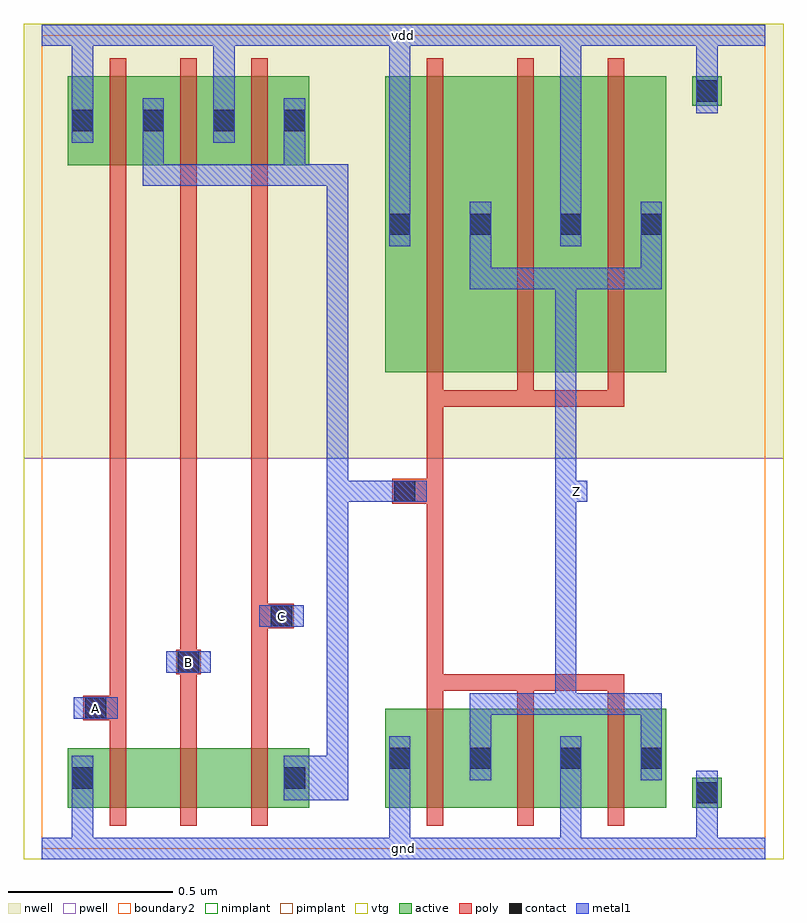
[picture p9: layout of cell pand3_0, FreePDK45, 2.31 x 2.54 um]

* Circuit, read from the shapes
.subckt pand3_0 A B C Z gnd vdd
M1 pnand3_0_0/nmos_m1_w0_180_sm1_dactive_3/D A gnd gnd nfet w=0.18u l=0.05u
M2 pnand3_0_0/nmos_m1_w0_180_sactive_dactive_4/D B pnand3_0_0/nmos_m1_w0_180_sm1_dactive_3/D gnd nfet w=0.18u l=0.05u
M3 pdriver_3_1/A C pnand3_0_0/nmos_m1_w0_180_sactive_dactive_4/D gnd nfet w=0.18u l=0.05u
M4 Z pdriver_3_1/A gnd gnd nfet w=0.3u l=0.05u m=3
M5 pdriver_3_1/A A vdd vdd pfet w=0.27u l=0.05u
M6 vdd B pdriver_3_1/A vdd pfet w=0.27u l=0.05u
M7 pdriver_3_1/A C vdd vdd pfet w=0.27u l=0.05u
M8 Z pdriver_3_1/A vdd vdd pfet w=0.9u l=0.05u m=3
.ends

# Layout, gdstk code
import gdstk
lib = gdstk.Library(unit=1e-6, precision=5e-10)
def R(c, l, rs):  # rectangles x0, y0, x1, y1
    for r in rs: c.add(gdstk.rectangle(r[:2], r[2:], *l))
def A(c, l, x, y, w, h, nx, ny, dx, dy):  # array of equal rectangles
    R(c, l, [(x+i*dx, y+j*dy, x+i*dx+w, y+j*dy+h) for i in range(nx) for j in range(ny)])
active = (1, 0)
pwell = (2, 0)
nwell = (3, 0)
nimplant = (4, 0)
pimplant = (5, 0)
vtg = (6, 0)
poly = (9, 0)
contact = (10, 0)
metal1 = (11, 0)
boundary2 = (239, 0)

contact_9 = lib.new_cell('contact_9')
R(contact_9, active, [(0,0.0225,0.09,0.1125)])
R(contact_9, nwell, [(-0.055,-0.0325,0.145,0.1675)])
R(contact_9, pimplant, [(0,0.0225,0.09,0.1125)])
R(contact_9, contact, [(0.0125,0.035,0.0775,0.1)])
R(contact_9, metal1, [(0.0125,0,0.0775,0.135)])
R(contact_9, boundary2, [(-0.055,-0.0325,0.145,0.1675)])

pmos_m1_w0_270_sm1_dm1 = lib.new_cell('pmos_m1_w0_270_sm1_dm1')
R(pmos_m1_w0_270_sm1_dm1, active, [(0,0,0.305,0.27)])
R(pmos_m1_w0_270_sm1_dm1, nwell, [(-0.08,-0.08,0.385,0.35)])
R(pmos_m1_w0_270_sm1_dm1, pimplant, [(0,0,0.305,0.27)])
R(pmos_m1_w0_270_sm1_dm1, vtg, [(-0.08,-0.08,0.385,0.35)])
R(pmos_m1_w0_270_sm1_dm1, poly, [(0.1275,-0.055,0.1775,0.325), (0.1275,-0.055,0.1775,0.325)])
R(pmos_m1_w0_270_sm1_dm1, metal1, [(0.0125,0.0675,0.0775,0.2025), (0.2275,0.0675,0.2925,0.2025)])
R(pmos_m1_w0_270_sm1_dm1, boundary2, [(-0.08,-0.08,0.385,0.35)])
pmos_m1_w0_270_sm1_dm1.add(gdstk.Reference(contact_9, (0,0.0675)))
pmos_m1_w0_270_sm1_dm1.add(gdstk.Reference(contact_9, (0.215,0.0675)))
pmos_m1_w0_270_sm1_dm1.add(gdstk.Label('G', (0.1525,0.135), layer=9, texttype=0))
pmos_m1_w0_270_sm1_dm1.add(gdstk.Label('S', (0.045,0.135), layer=11, texttype=0))
pmos_m1_w0_270_sm1_dm1.add(gdstk.Label('D', (0.26,0.135), layer=11, texttype=0))

contact_14 = lib.new_cell('contact_14')
R(contact_14, active, [(0,0.0225,0.09,0.1125)])
R(contact_14, pwell, [(-0.055,-0.0325,0.145,0.1675)])
R(contact_14, nimplant, [(0,0.0225,0.09,0.1125)])
R(contact_14, contact, [(0.0125,0.035,0.0775,0.1)])
R(contact_14, metal1, [(0.0125,0,0.0775,0.135)])
R(contact_14, boundary2, [(-0.055,-0.0325,0.145,0.1675)])

nmos_m1_w0_180_sm1_dacti = lib.new_cell('nmos_m1_w0_180_sm1_dactive')
R(nmos_m1_w0_180_sm1_dacti, active, [(0,0,0.305,0.18), (0.215,0.045,0.305,0.135)])
R(nmos_m1_w0_180_sm1_dacti, pwell, [(-0.08,-0.08,0.385,0.26)])
R(nmos_m1_w0_180_sm1_dacti, nimplant, [(0,0,0.305,0.18)])
R(nmos_m1_w0_180_sm1_dacti, vtg, [(-0.08,-0.08,0.385,0.26)])
R(nmos_m1_w0_180_sm1_dacti, poly, [(0.1275,-0.055,0.1775,0.235), (0.1275,-0.055,0.1775,0.235)])
R(nmos_m1_w0_180_sm1_dacti, metal1, [(0.0125,0.0225,0.0775,0.1575)])
R(nmos_m1_w0_180_sm1_dacti, boundary2, [(-0.08,-0.08,0.385,0.26)])
nmos_m1_w0_180_sm1_dacti.add(gdstk.Reference(contact_14, (0,0.0225)))
nmos_m1_w0_180_sm1_dacti.add(gdstk.Label('G', (0.1525,0.09), layer=9, texttype=0))
nmos_m1_w0_180_sm1_dacti.add(gdstk.Label('S', (0.045,0.09), layer=11, texttype=0))
nmos_m1_w0_180_sm1_dacti.add(gdstk.Label('D', (0.26,0.09), layer=1, texttype=0))

nmos_m1_w0_180_sactive_d = lib.new_cell('nmos_m1_w0_180_sactive_dactive')
R(nmos_m1_w0_180_sactive_d, active, [(0,0,0.305,0.18), (0,0.045,0.09,0.135), (0.215,0.045,0.305,0.135)])
R(nmos_m1_w0_180_sactive_d, pwell, [(-0.08,-0.08,0.385,0.26)])
R(nmos_m1_w0_180_sactive_d, nimplant, [(0,0,0.305,0.18)])
R(nmos_m1_w0_180_sactive_d, vtg, [(-0.08,-0.08,0.385,0.26)])
R(nmos_m1_w0_180_sactive_d, poly, [(0.1275,-0.055,0.1775,0.235), (0.1275,-0.055,0.1775,0.235)])
R(nmos_m1_w0_180_sactive_d, boundary2, [(-0.08,-0.08,0.385,0.26)])
nmos_m1_w0_180_sactive_d.add(gdstk.Label('G', (0.1525,0.09), layer=9, texttype=0))
nmos_m1_w0_180_sactive_d.add(gdstk.Label('S', (0.045,0.09), layer=1, texttype=0))
nmos_m1_w0_180_sactive_d.add(gdstk.Label('D', (0.26,0.09), layer=1, texttype=0))

c_nmos_m1_w0_180_sactive_d = lib.new_cell('nmos_m1_w0_180_sactive_dm1')
R(c_nmos_m1_w0_180_sactive_d, active, [(0,0,0.305,0.18), (0,0.045,0.09,0.135)])
R(c_nmos_m1_w0_180_sactive_d, pwell, [(-0.08,-0.08,0.385,0.26)])
R(c_nmos_m1_w0_180_sactive_d, nimplant, [(0,0,0.305,0.18)])
R(c_nmos_m1_w0_180_sactive_d, vtg, [(-0.08,-0.08,0.385,0.26)])
R(c_nmos_m1_w0_180_sactive_d, poly, [(0.1275,-0.055,0.1775,0.235), (0.1275,-0.055,0.1775,0.235)])
R(c_nmos_m1_w0_180_sactive_d, metal1, [(0.2275,0.0225,0.2925,0.1575)])
R(c_nmos_m1_w0_180_sactive_d, boundary2, [(-0.08,-0.08,0.385,0.26)])
c_nmos_m1_w0_180_sactive_d.add(gdstk.Reference(contact_14, (0.215,0.0225)))
c_nmos_m1_w0_180_sactive_d.add(gdstk.Label('G', (0.1525,0.09), layer=9, texttype=0))
c_nmos_m1_w0_180_sactive_d.add(gdstk.Label('S', (0.045,0.09), layer=1, texttype=0))
c_nmos_m1_w0_180_sactive_d.add(gdstk.Label('D', (0.26,0.09), layer=11, texttype=0))

contact_10 = lib.new_cell('contact_10')
R(contact_10, poly, [(0.03,0,0.105,0.075)])
R(contact_10, contact, [(0.035,0.005,0.1,0.07)])
R(contact_10, metal1, [(0,0.005,0.135,0.07)])
R(contact_10, boundary2, [(0,0,0.135,0.075)])

pnand3_0 = lib.new_cell('pnand3_0')
R(pnand3_0, pwell, [(-0.055,-0.0325,1.02,1.1875)])
R(pnand3_0, nwell, [(-0.055,1.1875,1.02,2.51)])
R(pnand3_0, vtg, [(-0.055,-0.0325,1.02,1.1875), (-0.055,1.1875,1.02,2.51)])
A(pnand3_0, poly, 0.2075, 0.36, 0.05, 1.665, 3, 1, 0.215, 0)
R(pnand3_0, poly, [(0.165,0.39,0.2075,0.465), (0.4225,0.53,0.4475,0.605), (0.6375,0.67,0.73,0.745)])
R(pnand3_0, metal1, [(0,-0.0325,0.965,0.0325), (0.0925,-0.0325,0.1575,0.1475), (0.77,0.1475,0.9,0.2825), (0.8675,0.1475,0.9325,2.05), (0.0975,0.395,0.2325,0.46), (0.38,0.535,0.515,0.6), (0.6625,0.675,0.7975,0.74), (0.3075,2.0175,0.3725,2.0825), (0.34,2.0175,0.9,2.0825), (0.7375,2.0175,0.8025,2.0825), (0.77,2.0175,0.9,2.0825), (0.8675,2.0175,0.9325,2.0825), (0.3075,2.05,0.3725,2.215), (0.7375,2.05,0.8025,2.215), (0.0925,2.1475,0.1575,2.5075), (0.5225,2.1475,0.5875,2.5075), (0,2.4425,0.965,2.5075)])
R(pnand3_0, boundary2, [(0,0,0.965,2.475), (0,0,0.965,2.475)])
pnand3_0.add(gdstk.Reference(pmos_m1_w0_270_sm1_dm1, (0.08,2.08)))
pnand3_0.add(gdstk.Reference(pmos_m1_w0_270_sm1_dm1, (0.295,2.08)))
pnand3_0.add(gdstk.Reference(pmos_m1_w0_270_sm1_dm1, (0.51,2.08)))
pnand3_0.add(gdstk.Reference(nmos_m1_w0_180_sm1_dacti, (0.08,0.125)))
pnand3_0.add(gdstk.Reference(nmos_m1_w0_180_sactive_d, (0.295,0.125)))
pnand3_0.add(gdstk.Reference(c_nmos_m1_w0_180_sactive_d, (0.51,0.125)))
pnand3_0.add(gdstk.Reference(contact_10, (0.0975,0.39)))
pnand3_0.add(gdstk.Reference(contact_10, (0.38,0.53)))
pnand3_0.add(gdstk.Reference(contact_10, (0.6625,0.67)))
pnand3_0.add(gdstk.Label('A', (0.165,0.4275), layer=11, texttype=0))
pnand3_0.add(gdstk.Label('B', (0.4475,0.5675), layer=11, texttype=0))
pnand3_0.add(gdstk.Label('C', (0.73,0.7075), layer=11, texttype=0))
pnand3_0.add(gdstk.Label('Z', (0.9,2.05), layer=11, texttype=0))
pnand3_0.add(gdstk.Label('gnd', (0.4825,0), layer=11, texttype=0))
pnand3_0.add(gdstk.Label('vdd', (0.4825,2.475), layer=11, texttype=0))

pmos_m3_w0_900_sm1_dm1_d = lib.new_cell('pmos_m3_w0_900_sm1_dm1_da_p')
R(pmos_m3_w0_900_sm1_dm1_d, active, [(0,0,0.855,0.9)])
R(pmos_m3_w0_900_sm1_dm1_d, nwell, [(-0.08,-0.08,0.935,0.98)])
R(pmos_m3_w0_900_sm1_dm1_d, pimplant, [(0,0,0.855,0.9)])
R(pmos_m3_w0_900_sm1_dm1_d, vtg, [(-0.08,-0.08,0.935,0.98)])
A(pmos_m3_w0_900_sm1_dm1_d, poly, 0.1275, -0.055, 0.05, 1.01, 3, 1, 0.275, 0)
R(pmos_m3_w0_900_sm1_dm1_d, poly, [(0.1275,-0.105,0.7275,-0.055)])
R(pmos_m3_w0_900_sm1_dm1_d, metal1, [(0.2575,0.2525,0.8425,0.3175), (0.2575,0.285,0.3225,0.45), (0.7775,0.285,0.8425,0.45), (0.0125,0.3825,0.0775,0.5175), (0.5325,0.3825,0.5975,0.5175)])
R(pmos_m3_w0_900_sm1_dm1_d, boundary2, [(-0.08,-0.08,0.935,0.98)])
pmos_m3_w0_900_sm1_dm1_d.add(gdstk.Reference(contact_9, (0,0.3825)))
pmos_m3_w0_900_sm1_dm1_d.add(gdstk.Reference(contact_9, (0.245,0.3825)))
pmos_m3_w0_900_sm1_dm1_d.add(gdstk.Reference(contact_9, (0.52,0.3825)))
pmos_m3_w0_900_sm1_dm1_d.add(gdstk.Reference(contact_9, (0.765,0.3825)))
pmos_m3_w0_900_sm1_dm1_d.add(gdstk.Label('G', (0.4275,-0.08), layer=9, texttype=0))
pmos_m3_w0_900_sm1_dm1_d.add(gdstk.Label('S', (0.565,0.45), layer=11, texttype=0))
pmos_m3_w0_900_sm1_dm1_d.add(gdstk.Label('S', (0.045,0.45), layer=11, texttype=0))
pmos_m3_w0_900_sm1_dm1_d.add(gdstk.Label('D', (0.55,0.285), layer=11, texttype=0))

nmos_m3_w0_300_sm1_dm1_d = lib.new_cell('nmos_m3_w0_300_sm1_dm1_da_p')
R(nmos_m3_w0_300_sm1_dm1_d, active, [(0,0,0.855,0.3)])
R(nmos_m3_w0_300_sm1_dm1_d, pwell, [(-0.08,-0.08,0.935,0.38)])
R(nmos_m3_w0_300_sm1_dm1_d, nimplant, [(0,0,0.855,0.3)])
R(nmos_m3_w0_300_sm1_dm1_d, vtg, [(-0.08,-0.08,0.935,0.38)])
A(nmos_m3_w0_300_sm1_dm1_d, poly, 0.1275, -0.055, 0.05, 0.41, 3, 1, 0.275, 0)
R(nmos_m3_w0_300_sm1_dm1_d, poly, [(0.1275,0.355,0.7275,0.405)])
R(nmos_m3_w0_300_sm1_dm1_d, metal1, [(0.0125,0.0825,0.0775,0.2175), (0.5325,0.0825,0.5975,0.2175), (0.2575,0.15,0.3225,0.315), (0.7775,0.15,0.8425,0.315), (0.2575,0.2825,0.8425,0.3475)])
R(nmos_m3_w0_300_sm1_dm1_d, boundary2, [(-0.08,-0.08,0.935,0.38)])
nmos_m3_w0_300_sm1_dm1_d.add(gdstk.Reference(contact_14, (0,0.0825)))
nmos_m3_w0_300_sm1_dm1_d.add(gdstk.Reference(contact_14, (0.245,0.0825)))
nmos_m3_w0_300_sm1_dm1_d.add(gdstk.Reference(contact_14, (0.52,0.0825)))
nmos_m3_w0_300_sm1_dm1_d.add(gdstk.Reference(contact_14, (0.765,0.0825)))
nmos_m3_w0_300_sm1_dm1_d.add(gdstk.Label('G', (0.4275,0.38), layer=9, texttype=0))
nmos_m3_w0_300_sm1_dm1_d.add(gdstk.Label('S', (0.045,0.15), layer=11, texttype=0))
nmos_m3_w0_300_sm1_dm1_d.add(gdstk.Label('S', (0.565,0.15), layer=11, texttype=0))
nmos_m3_w0_300_sm1_dm1_d.add(gdstk.Label('D', (0.55,0.315), layer=11, texttype=0))

contact_18 = lib.new_cell('contact_18')
R(contact_18, active, [(0,0.0225,0.09,0.1125)])
R(contact_18, nwell, [(-0.055,-0.0325,0.145,0.1675)])
R(contact_18, nimplant, [(0,0.0225,0.09,0.1125)])
R(contact_18, contact, [(0.0125,0.035,0.0775,0.1)])
R(contact_18, metal1, [(0.0125,0,0.0775,0.135)])
R(contact_18, boundary2, [(-0.055,-0.0325,0.145,0.1675)])

contact_19 = lib.new_cell('contact_19')
R(contact_19, active, [(0,0.0225,0.09,0.1125)])
R(contact_19, pwell, [(-0.055,-0.0325,0.145,0.1675)])
R(contact_19, pimplant, [(0,0.0225,0.09,0.1125)])
R(contact_19, contact, [(0.0125,0.035,0.0775,0.1)])
R(contact_19, metal1, [(0.0125,0,0.0775,0.135)])
R(contact_19, boundary2, [(-0.055,-0.0325,0.145,0.1675)])

pinv_13 = lib.new_cell('pinv_13')
R(pinv_13, pwell, [(-0.055,-0.0325,1.2925,1.1875)])
R(pinv_13, nwell, [(-0.055,1.1875,1.2925,2.51)])
R(pinv_13, vtg, [(-0.055,-0.0325,1.2925,1.1875), (-0.055,1.1875,1.2925,2.51)])
R(pinv_13, poly, [(0.2075,0.53,0.2575,1.345), (0.14,1.05,0.2075,1.125)])
R(pinv_13, metal1, [(0,-0.0325,1.2375,0.0325), (0.0925,-0.0325,0.1575,0.2075), (0.6125,-0.0325,0.6775,0.2075), (1.0275,0,1.0925,0.17), (0.5975,0.4075,0.6625,1.7675), (0.0725,1.055,0.2075,1.12), (0.63,1.055,0.695,1.12), (0.0925,1.8325,0.1575,2.5075), (0.6125,1.8325,0.6775,2.5075), (1.0275,2.305,1.0925,2.475), (0,2.4425,1.2375,2.5075)])
R(pinv_13, boundary2, [(0,0,1.2375,2.475), (0,0,1.2375,2.475)])
pinv_13.add(gdstk.Reference(pmos_m3_w0_900_sm1_dm1_d, (0.08,1.45)))
pinv_13.add(gdstk.Reference(nmos_m3_w0_300_sm1_dm1_d, (0.08,0.125)))
pinv_13.add(gdstk.Reference(contact_18, (1.015,2.2375)))
pinv_13.add(gdstk.Reference(contact_19, (1.015,0.1025)))
pinv_13.add(gdstk.Reference(contact_10, (0.0725,1.05)))
pinv_13.add(gdstk.Label('A', (0.14,1.0875), layer=11, texttype=0))
pinv_13.add(gdstk.Label('Z', (0.6625,1.0875), layer=11, texttype=0))
pinv_13.add(gdstk.Label('gnd', (0.619,0), layer=11, texttype=0))
pinv_13.add(gdstk.Label('vdd', (0.619,2.475), layer=11, texttype=0))

pdriver_3 = lib.new_cell('pdriver_3')
R(pdriver_3, pwell, [(-0.055,-0.0325,1.2925,1.1875)])
R(pdriver_3, nwell, [(-0.055,1.1875,1.2925,2.51)])
R(pdriver_3, vtg, [(-0.055,-0.0325,1.2925,1.1875), (-0.055,1.1875,1.2925,2.51)])
R(pdriver_3, metal1, [(0,-0.0325,1.2375,0.0325), (0.0725,1.055,0.2075,1.12), (0.63,1.055,0.695,1.12), (0,2.4425,1.2375,2.5075)])
R(pdriver_3, boundary2, [(0,0,1.2375,2.475), (0,0,1.2375,2.475)])
pdriver_3.add(gdstk.Reference(pinv_13, (0,0)))
pdriver_3.add(gdstk.Label('Z', (0.6625,1.0875), layer=11, texttype=0))
pdriver_3.add(gdstk.Label('A', (0.14,1.0875), layer=11, texttype=0))
pdriver_3.add(gdstk.Label('gnd', (0.619,0), layer=11, texttype=0))
pdriver_3.add(gdstk.Label('vdd', (0.619,2.475), layer=11, texttype=0))

pand3_0 = lib.new_cell('pand3_0')
R(pand3_0, metal1, [(0,-0.0325,2.2025,0.0325), (0.0975,0.395,0.2325,0.46), (0.38,0.535,0.515,0.6), (0.6625,0.675,0.7975,0.74), (0.8675,1.055,0.9325,1.12), (0.9,1.055,1.105,1.12), (1.595,1.055,1.66,1.12), (0.8675,1.0875,0.9325,2.05), (0,2.4425,2.2025,2.5075)])
R(pand3_0, boundary2, [(0,0,2.2025,2.475), (0,0,2.2025,2.475)])
pand3_0.add(gdstk.Reference(pnand3_0, (0,0)))
pand3_0.add(gdstk.Reference(pdriver_3, (0.965,0)))
pand3_0.add(gdstk.Label('Z', (1.6275,1.0875), layer=11, texttype=0))
pand3_0.add(gdstk.Label('A', (0.165,0.4275), layer=11, texttype=0))
pand3_0.add(gdstk.Label('B', (0.4475,0.5675), layer=11, texttype=0))
pand3_0.add(gdstk.Label('C', (0.73,0.7075), layer=11, texttype=0))
pand3_0.add(gdstk.Label('gnd', (1.101,0), layer=11, texttype=0))
pand3_0.add(gdstk.Label('vdd', (1.101,2.475), layer=11, texttype=0))

lib.write_gds('pand3_0.gds')
